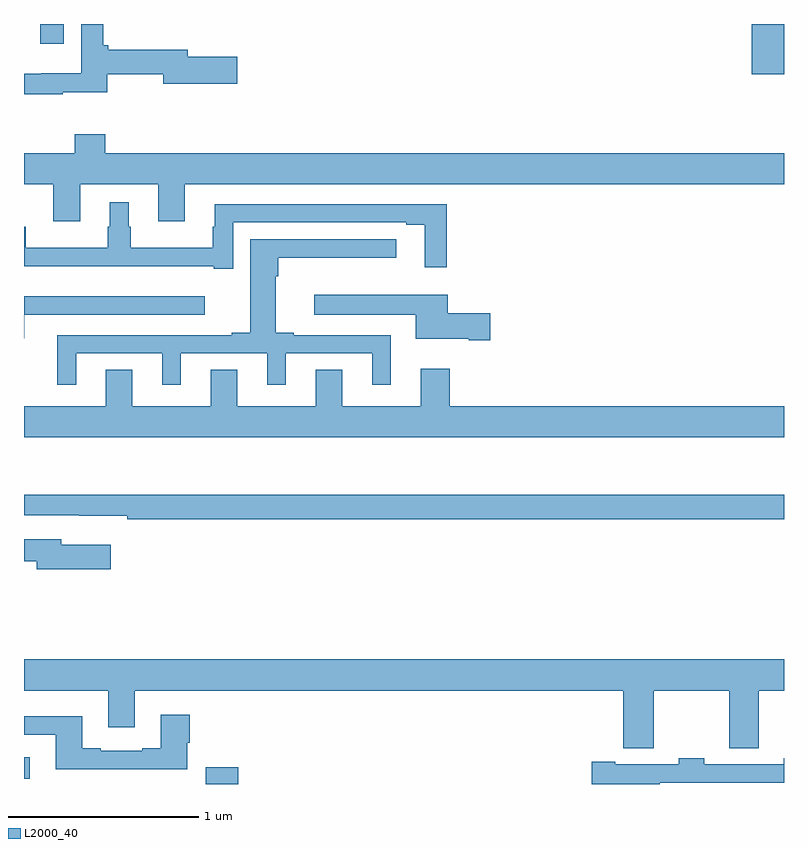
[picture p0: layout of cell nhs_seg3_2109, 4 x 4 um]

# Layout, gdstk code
import gdstk
lib = gdstk.Library(unit=1e-6, precision=1e-09)
def R(c, l, rs):  # rectangles x0, y0, x1, y1
    for r in rs: c.add(gdstk.rectangle(r[:2], r[2:], *l))
def P(c, l, *ps):  # polygons
    for p in ps: c.add(gdstk.Polygon(p, *l))
L2000_40 = (2000, 40)

nhs_seg3_2109 = lib.new_cell('nhs_seg3_2109')
R(nhs_seg3_2109, L2000_40, [(219.956,724.4,220.127,724.489), (219,724.427,219.031,724.54), (222.83,728.135,223,728.4), (219.086,728.295,219.208,728.4)])
P(nhs_seg3_2109, L2000_40, [(219.203,728.041),(219.438,728.041),(219.438,728.136),(219.734,728.136),(219.734,728.086),(220.123,728.086),(220.123,728.228),(219.862,728.228),(219.862,728.264),(219.443,728.264),(219.443,728.288),(219.416,728.288),(219.416,728.4),(219.3,728.4),(219.3,728.14),(219.09,728.14),(219.09,728.139),(219,728.139),(219,728.031),(219.203,728.031)],
  [(219.295,727.556),(219.707,727.556),(219.707,727.362),(219.847,727.362),(219.847,727.556),(223,727.556),(223,727.72),(219.428,727.72),(219.428,727.819),(219.268,727.819),(219.268,727.72),(219,727.72),(219,727.556),(219.155,727.556),(219.155,727.362),(219.295,727.362)],
  [(220.101,727.356),(221.012,727.356),(221.012,727.344),(221.108,727.344),(221.108,727.119),(221.225,727.119),(221.225,727.452),(220.004,727.452),(220.004,727.334),(219.993,727.334),(219.993,727.222),(219.562,727.222),(219.562,727.334),(219.55,727.334),(219.55,727.462),(219.452,727.462),(219.452,727.334),(219.441,727.334),(219.441,727.222),(219.01,727.222),(219.01,727.334),(219,727.334),(219,727.124),(219.998,727.124),(219.998,727.113),(220.101,727.113)],
  [(219.274,726.666),(219.728,726.666),(219.728,726.501),(219.826,726.501),(219.826,726.666),(220.28,726.666),(220.28,726.501),(220.378,726.501),(220.378,726.666),(220.832,726.666),(220.832,726.501),(220.93,726.501),(220.93,726.762),(220.42,726.762),(220.42,726.775),(220.324,726.775),(220.324,727.073),(220.337,727.073),(220.337,727.169),(220.96,727.169),(220.96,727.266),(220.19,727.266),(220.19,726.775),(220.094,726.775),(220.094,726.762),(219.176,726.762),(219.176,726.501),(219.274,726.501)],
  [(221.455,726.878),(221.23,726.878),(221.23,726.976),(220.527,726.976),(220.527,726.869),(221.063,726.869),(221.063,726.743),(221.342,726.743),(221.342,726.736),(221.455,726.736)],
  [(219.001,726.87),(219.952,726.87),(219.952,726.967),(219,726.967),(219,726.746),(219.001,726.746)],
  [(223,726.388),(221.24,726.388),(221.24,726.586),(221.087,726.586),(221.087,726.388),(220.675,726.388),(220.675,726.581),(220.535,726.581),(220.535,726.388),(220.123,726.388),(220.123,726.581),(219.983,726.581),(219.983,726.388),(219.571,726.388),(219.571,726.581),(219.431,726.581),(219.431,726.388),(219,726.388),(219,726.224),(223,726.224)],
  [(223,725.923),(219,725.923),(219,725.814),(219.292,725.814),(219.292,725.813),(219.544,725.813),(219.544,725.794),(223,725.794)],
  [(219.457,725.659),(219.196,725.659),(219.196,725.688),(219,725.688),(219,725.572),(219.068,725.572),(219.068,725.53),(219.457,725.53)],
  [(222.314,724.892),(222.712,724.892),(222.712,724.588),(222.866,724.588),(222.866,724.892),(223,724.892),(223,725.056),(219,725.056),(219,724.892),(219.443,724.892),(219.443,724.698),(219.583,724.698),(219.583,724.892),(222.155,724.892),(222.155,724.588),(222.314,724.588)],
  [(219.859,724.617),(219.872,724.617),(219.872,724.765),(219.719,724.765),(219.719,724.588),(219.623,724.588),(219.623,724.575),(219.403,724.575),(219.403,724.588),(219.307,724.588),(219.307,724.756),(219,724.756),(219,724.659),(219.167,724.659),(219.167,724.478),(219.859,724.478)],
  [(222.347,724.407),(223,724.407),(223,724.536),(222.999,724.536),(222.999,724.503),(222.579,724.503),(222.579,724.536),(222.447,724.536),(222.447,724.503),(222.112,724.503),(222.112,724.516),(221.989,724.516),(221.989,724.4),(222.347,724.4)])

lib.write_gds('nhs_seg3_2109.gds')
